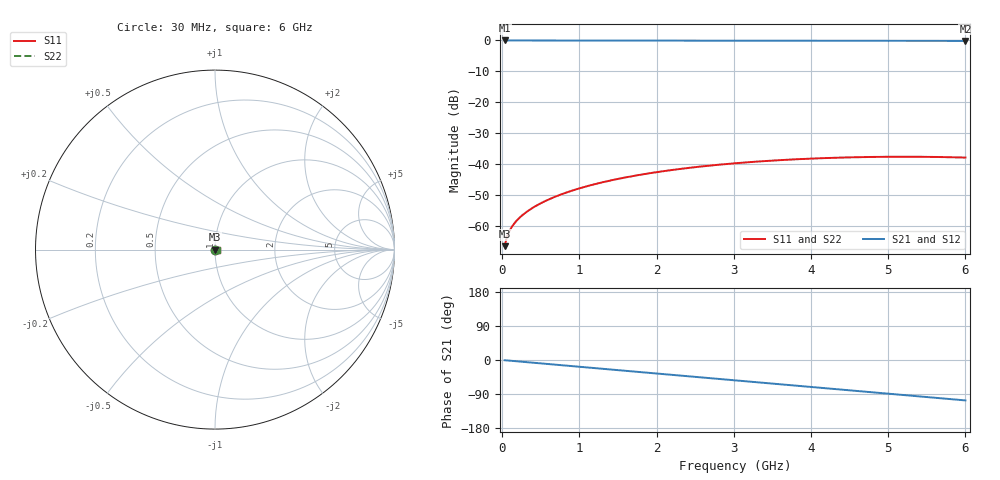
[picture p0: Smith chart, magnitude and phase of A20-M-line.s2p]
! yapnr Order 0 O0-D: O0-D A20 M dL9 (line, family M)
! stackup OSHPARK-4L-FR408HR, nominal parameters; geometry of the OSHPARK-4L-FR408HR design
! model: 2D quasi-static RLGC (Djordjevic-Sarkar, Huray roughness, Wheeler loss); generated by python -m yapnr.rf.coupons expected --stackup OSHPARK-4L-FR408HR --upload D
! reference planes 10 mm from each end; 50 ohm (from the M line's Zc)
# GHz S DB R 50
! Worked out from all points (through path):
!   200 points, 30 MHz to 6 GHz, reference 50 ohm
!   highest |S21| = 0.00 dB at 30 MHz (marker M1); lowest = -0.1 dB at 6 GHz (marker M2)
!   group delay of S21, straight-line fit = 49.3 ps
!   lowest |S11| = -66.7 dB at 30 MHz (marker M3), VSWR 1.00, Z = 50 + j0.0317 ohm
!   |S11| at or under -10 dB: start of sweep to end of sweep
!   |S22| runs from -66.7 to -37.7 dB; largest |S21 - S12| = 0
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0.03  -66.68 43.1  -0.00 -0.6  -0.00 -0.6  -66.68 43.1
0.06  -63.71 44.8  -0.01 -1.1  -0.01 -1.1  -63.71 44.8
0.09  -61.90 46.1  -0.01 -1.6  -0.01 -1.6  -61.90 46.1
0.12  -60.57 47.3  -0.01 -2.2  -0.01 -2.2  -60.57 47.3
0.15  -59.49 48.2  -0.01 -2.7  -0.01 -2.7  -59.49 48.2
0.21  -57.79 49.8  -0.01 -3.8  -0.01 -3.8  -57.79 49.8
0.3  -55.85 51.6  -0.01 -5.4  -0.01 -5.4  -55.85 51.6
0.45  -53.43 53.3  -0.02 -8.1  -0.02 -8.1  -53.43 53.3
0.6  -51.56 53.9  -0.02 -10.8  -0.02 -10.8  -51.56 53.9
0.81  -49.48 53.7  -0.03 -14.5  -0.03 -14.5  -49.48 53.7
1.05  -47.58 52.5  -0.03 -18.8  -0.03 -18.8  -47.58 52.5
1.26  -46.20 50.8  -0.04 -22.5  -0.04 -22.5  -46.20 50.8
1.5  -44.87 48.4  -0.04 -26.8  -0.04 -26.8  -44.87 48.4
2.04  -42.54 41.8  -0.06 -36.4  -0.06 -36.4  -42.54 41.8
2.52  -41.01 35.2  -0.07 -44.9  -0.07 -44.9  -41.01 35.2
3.03  -39.78 27.7  -0.08 -54.0  -0.08 -54.0  -39.78 27.7
3.51  -38.93 20.4  -0.09 -62.5  -0.09 -62.5  -38.93 20.4
4.02  -38.28 12.3  -0.10 -71.5  -0.10 -71.5  -38.28 12.3
4.5  -37.90 4.7  -0.11 -80.0  -0.11 -80.0  -37.90 4.7
5.01  -37.71 -3.6  -0.12 -89.1  -0.12 -89.1  -37.71 -3.6
5.49  -37.73 -11.4  -0.13 -97.6  -0.13 -97.6  -37.73 -11.4
6  -37.97 -19.8  -0.14 -106.6  -0.14 -106.6  -37.97 -19.8
